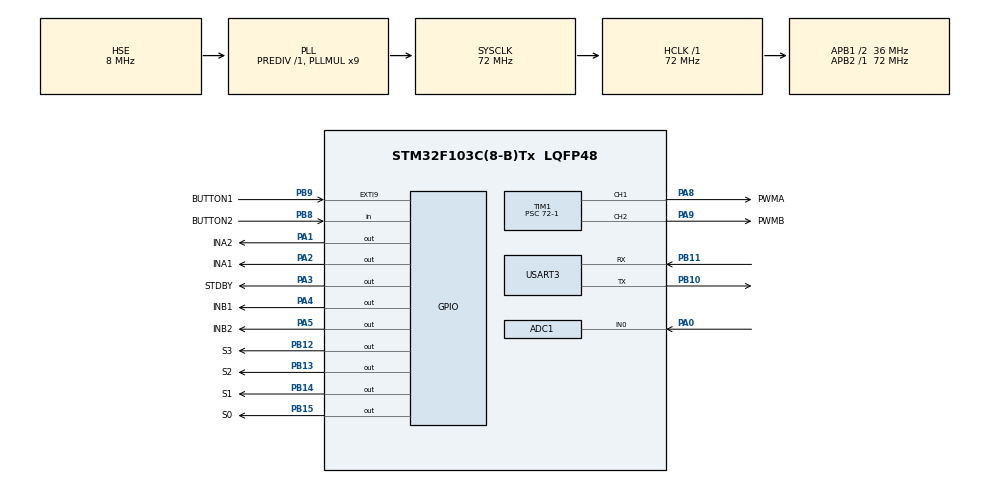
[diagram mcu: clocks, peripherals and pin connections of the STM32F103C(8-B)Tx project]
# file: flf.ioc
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ADC1.Channel-5\#ChannelRegularConversion=ADC_CHANNEL_0
ADC1.ContinuousConvMode=DISABLE
ADC1.ExternalTrigConv=ADC_SOFTWARE_START
ADC1.NbrOfConversion=1
ADC1.NbrOfConversionFlag=1
ADC1.Rank-5\#ChannelRegularConversion=1
ADC1.SamplingTime-5\#ChannelRegularConversion=ADC_SAMPLETIME_55CYCLES_5
ADC1.master=1
Dma.ADC1.0.Direction=DMA_PERIPH_TO_MEMORY
Dma.ADC1.0.Instance=DMA1_Channel1
Dma.ADC1.0.MemDataAlignment=DMA_MDATAALIGN_HALFWORD
Dma.ADC1.0.MemInc=DMA_MINC_ENABLE
Dma.ADC1.0.Mode=DMA_NORMAL
Dma.ADC1.0.PeriphDataAlignment=DMA_PDATAALIGN_HALFWORD
Dma.ADC1.0.PeriphInc=DMA_PINC_DISABLE
Dma.ADC1.0.Priority=DMA_PRIORITY_LOW
Dma.Request0=ADC1
Mcu.Family=STM32F1
Mcu.Name=STM32F103C(8-B)Tx
Mcu.Package=LQFP48
NVIC.ADC1_2_IRQn=true\:0\:0\:true\:false\:true\:true\:true\:true
NVIC.DMA1_Channel1_IRQn=true\:0\:0\:true\:false\:true\:false\:true\:true
NVIC.EXTI9_5_IRQn=true\:0\:0\:false\:false\:true\:true\:true\:true
NVIC.PriorityGroup=NVIC_PRIORITYGROUP_4
NVIC.TIM3_IRQn=true\:0\:0\:false\:false\:true\:true\:true\:true
NVIC.TIM4_IRQn=true\:5\:0\:true\:false\:true\:true\:true\:true
PA0-WKUP.Signal=ADCx_IN0
PA1.GPIO_Label=INA2
PA1.Signal=GPIO_Output
PA13.Mode=Serial_Wire
PA13.Signal=SYS_JTMS-SWDIO
PA14.Mode=Serial_Wire
PA14.Signal=SYS_JTCK-SWCLK
PA2.GPIO_Label=INA1
PA2.Signal=GPIO_Output
PA3.GPIO_Label=STDBY
PA3.Signal=GPIO_Output
PA4.GPIO_Label=INB1
PA4.Signal=GPIO_Output
PA5.GPIO_Label=INB2
PA5.Signal=GPIO_Output
PA8.GPIO_Label=PWMA
PA8.Signal=S_TIM1_CH1
PA9.GPIO_Label=PWMB
PA9.Signal=S_TIM1_CH2
PB10.Mode=Asynchronous
PB10.Signal=USART3_TX
PB11.Mode=Asynchronous
PB11.Signal=USART3_RX
PB12.GPIO_Label=S3
PB12.Signal=GPIO_Output
PB13.GPIO_Label=S2
PB13.Signal=GPIO_Output
PB14.GPIO_Label=S1
PB14.Signal=GPIO_Output
PB15.GPIO_Label=S0
PB15.Signal=GPIO_Output
PB8.GPIO_Label=BUTTON2
PB8.Signal=GPIO_Input
PB9.GPIO_Label=BUTTON1
PB9.GPIO_ModeDefaultEXTI=GPIO_MODE_IT_FALLING
PB9.GPIO_PuPd=GPIO_PULLUP
PB9.Signal=GPXTI9
PD0-OSC_IN.Mode=HSE-External-Oscillator
PD0-OSC_IN.Signal=RCC_OSC_IN
PD1-OSC_OUT.Mode=HSE-External-Oscillator
PD1-OSC_OUT.Signal=RCC_OSC_OUT
ProjectManager.HeapSize=0x200
ProjectManager.StackSize=0x400
ProjectManager.TargetToolchain=STM32CubeIDE
RCC.ADCPresc=RCC_ADCPCLK2_DIV6
RCC.AHBFreq_Value=72000000
RCC.APB1CLKDivider=RCC_HCLK_DIV2
RCC.APB1Freq_Value=36000000
RCC.APB1TimFreq_Value=72000000
RCC.APB2Freq_Value=72000000
RCC.APB2TimFreq_Value=72000000
RCC.HCLKFreq_Value=72000000
RCC.PLLMUL=RCC_PLL_MUL9
RCC.PLLSourceVirtual=RCC_PLLSOURCE_HSE
RCC.SYSCLKFreq_VALUE=72000000
RCC.SYSCLKSource=RCC_SYSCLKSOURCE_PLLCLK
RCC.USBFreq_Value=72000000
SH.ADCx_IN0.0=ADC1_IN0,IN0
SH.S_TIM1_CH1.0=TIM1_CH1,PWM Generation1 CH1
SH.S_TIM1_CH2.0=TIM1_CH2,PWM Generation2 CH2
TIM1.Channel-PWM\ Generation1\ CH1=TIM_CHANNEL_1
TIM1.Channel-PWM\ Generation2\ CH2=TIM_CHANNEL_2
TIM1.Period=1000-1
TIM1.Prescaler=72-1
TIM3.AutoReloadPreload=TIM_AUTORELOAD_PRELOAD_ENABLE
TIM3.Period=256-1
TIM3.Prescaler=72-1
TIM4.AutoReloadPreload=TIM_AUTORELOAD_PRELOAD_ENABLE
TIM4.Period=15-1
TIM4.Prescaler=72-1
USART3.VirtualMode=VM_ASYNC
VP_TIM3_VS_ClockSourceINT.Mode=Internal
VP_TIM4_VS_ClockSourceINT.Mode=Internal
board=custom

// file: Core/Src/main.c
/* USER CODE BEGIN Header */
/**
  ******************************************************************************
  * @file           : main.c
  * @brief          : Main program body
  ******************************************************************************
  * @attention
  *
  * Copyright (c) 2025 STMicroelectronics.
  * All rights reserved.
  *
  * This software is licensed under terms that can be found in the LICENSE file
  * in the root directory of this software component.
  * If no LICENSE file comes with this software, it is provided AS-IS.
  *
  ******************************************************************************
  */
/* USER CODE END Header */
#include "main.h"

ADC_HandleTypeDef hadc1;
DMA_HandleTypeDef hdma_adc1;

TIM_HandleTypeDef htim1;
TIM_HandleTypeDef htim3;
TIM_HandleTypeDef htim4;

UART_HandleTypeDef huart3;

/* USER CODE BEGIN PV */

#define KP 20.0f
#define KI 0.0f
#define KD 0.0f
#define BASE_SPEED 50
#define MAX_CORRECTION 30

#define IR_CHANNEL_COUNT 16
#define CALIB_SAMPLES    50

volatile uint16_t ir_buffer0[IR_CHANNEL_COUNT];
volatile uint16_t ir_buffer1[IR_CHANNEL_COUNT];
volatile uint16_t *ir_buffers[2] = { ir_buffer0, ir_buffer1 };

volatile uint8_t write_buf_idx = 0;
volatile uint8_t read_buf_idx  = 1;
volatile uint8_t current_ir    = 0;
volatile uint16_t motor_a_speed = 0;
volatile uint16_t motor_b_speed = 0;
volatile uint16_t adc_dma_val;
uint32_t last_button_press_time = 0;

volatile uint16_t last_error =0;
volatile float integral=0;
volatile float error = 0.0f;
volatile float derivative=0;
volatile float correction=0;
volatile int8_t weights[16]={-7,-6,-5,-4,-3,-2,-1,0,1,2,3,4,5,6,7,0};
volatile uint32_t time_diff = 0;
volatile uint32_t prev_time = 0;
volatile uint32_t current_time =0;
volatile uint32_t thresholds[IR_CHANNEL_COUNT];
volatile uint8_t motor_control_enabled = 0;

/* USER CODE END PV */

void SystemClock_Config(void);
static void MX_GPIO_Init(void);
static void MX_DMA_Init(void);
static void MX_ADC1_Init(void);
static void MX_TIM3_Init(void);
static void MX_USART3_UART_Init(void);
static void MX_TIM4_Init(void);
static void MX_TIM1_Init(void);

/* USER CODE BEGIN 0 */

void HAL_ADC_ConvCpltCallback(ADC_HandleTypeDef* hadc)
{
    if(hadc->Instance == ADC1)
    {
        ir_buffers[write_buf_idx][current_ir] = adc_dma_val;

        current_ir++;

        if (current_ir >= IR_CHANNEL_COUNT) {
            current_ir = 0;
            write_buf_idx ^= 1;
            read_buf_idx ^= 1;
        }

        setMuxChannel(current_ir);
    }
}

void SendIRValuesUART(void)
{
    char buffer[256];
    int len = 0;

    for (int i = 0; i < IR_CHANNEL_COUNT; i++)
    {
        len += sprintf(&buffer[len], "%u", thresholds[i]);

        if (i < IR_CHANNEL_COUNT - 1)
        {
            len += sprintf(&buffer[len], ",");
        }
    }

    len += sprintf(&buffer[len], "\r\n");

    HAL_UART_Transmit(&huart3, (uint8_t *)buffer, len, HAL_MAX_DELAY);
}

void MotorControl(uint8_t direction_a, uint8_t value_a, uint8_t direction_b, uint8_t value_b)
{
    //given the flf front is facing the observer
    //motor a is left
    //motor b is right

    if(value_a > 100) value_a = 100;
    if(value_b > 100) value_b = 100;

    if(direction_a)
    {
        HAL_GPIO_WritePin(GPIOA, GPIO_PIN_1, GPIO_PIN_SET);
        HAL_GPIO_WritePin(GPIOA, GPIO_PIN_2, GPIO_PIN_RESET);
    }
    else
    {
        HAL_GPIO_WritePin(GPIOA, GPIO_PIN_1, GPIO_PIN_RESET);
        HAL_GPIO_WritePin(GPIOA, GPIO_PIN_2, GPIO_PIN_SET);
    }

    if(direction_b)
    {
        HAL_GPIO_WritePin(GPIOA, GPIO_PIN_4, GPIO_PIN_SET);
        HAL_GPIO_WritePin(GPIOA, GPIO_PIN_5, GPIO_PIN_RESET);
    }
    else
    {
        HAL_GPIO_WritePin(GPIOA, GPIO_PIN_4, GPIO_PIN_RESET);
        HAL_GPIO_WritePin(GPIOA, GPIO_PIN_5, GPIO_PIN_SET);
    }

    uint32_t pwm_a = (value_a * 999) / 100;
    uint32_t pwm_b = (value_b * 999) / 100;

    __HAL_TIM_SET_COMPARE(&htim1, TIM_CHANNEL_1, pwm_a);
    __HAL_TIM_SET_COMPARE(&htim1, TIM_CHANNEL_2, pwm_b);
}

void calibration(void) {
    int calib_data[CALIB_SAMPLES][IR_CHANNEL_COUNT];
    int i, j;

    // Collect calibration samples without moving motors
    MotorControl(1,70,0,70);
    for (i = 0; i < CALIB_SAMPLES; i++) {
        for (j = 0; j < IR_CHANNEL_COUNT; j++) {
            calib_data[i][j] = ir_buffers[read_buf_idx][j];
            HAL_Delay(10);  // Small delay between sensor readings
        }
        HAL_Delay(10);  // Small delay between sample sets
    }
    MotorControl(1,0,1,0);

    // Calculate thresholds using simple min-max method
    for (j = 0; j < IR_CHANNEL_COUNT; j++) {
        int min_val = 4095;
        int max_val = 0;

        // Find min and max values for this sensor
        for (i = 0; i < CALIB_SAMPLES; i++) {
            int value = calib_data[i][j];

            if (value < min_val) min_val = value;
            if (value > max_val) max_val = value;
        }

        // Set threshold as midpoint between min and max
        thresholds[j] = (min_val + max_val) / 2;
    }
}

void HAL_GPIO_EXTI_Callback(uint16_t GPIO_Pin)
{
    if (GPIO_Pin == GPIO_PIN_9)
    {
        uint32_t current_time = HAL_GetTick();

        if (current_time - last_button_press_time >= 200)
        {
            last_button_press_time = current_time;

            // Toggle motor control state
            motor_control_enabled = !motor_control_enabled;

            // If motors are being disabled, stop them immediately
            if (!motor_control_enabled) {
                MotorControl(1, 0, 1, 0);  // Stop both motors
            }

            // Optional: Send status via UART for debugging
            char status_msg[50];
            sprintf(status_msg, "Motors %s\r\n", motor_control_enabled ? "ENABLED" : "DISABLED");
            HAL_UART_Transmit(&huart3, (uint8_t *)status_msg, strlen(status_msg), HAL_MAX_DELAY);
        }
    }
}

// Modified PID loop function
void pid_loop(void){
    // Step 1: Calculate line position using weighted average
    int weighted_sum = 0;        // Sum of (sensor_value × weight)
    int total_activation = 0;    // Sum of all active sensors

    // Go through each IR sensor
    for (int i = 0; i < IR_CHANNEL_COUNT; i++){
        // Check if sensor detects black line (value > threshold)
        if (ir_buffers[read_buf_idx][i] > thresholds[i]) {
            // Add this sensor's contribution to line position
            weighted_sum += weights[i];      // Add position weight
            total_activation += 1;           // Count this sensor as active
        }
    }

    // Step 2: Calculate error (where is line compared to center?)
    if (total_activation > 0) {
        // Line is detected - calculate average position
        error = (float)weighted_sum / (float)total_activation;
    } else {
        // No line detected - keep last error (robot may be off track)
        // error stays the same as before
    }

    // Step 3: Calculate time difference for derivative and integral
    current_time = HAL_GetTick();                    // Get current time in milliseconds
    time_diff = current_time - prev_time;           // Time since last calculation

    if (time_diff > 0) {  // Make sure we have valid time difference

        // Step 4: Calculate PID components

        // Proportional: Current error
        float proportional = KP * error;

        // Integral: Sum of all past errors (helps with steady-state error)
        integral += error * (float)time_diff / 1000.0f;  // Convert ms to seconds
        float integral_term = KI * integral;

        // Derivative: Rate of change of error (prevents overshooting)
        derivative = (error - last_error) / ((float)time_diff / 1000.0f);
        float derivative_term = KD * derivative;

        // Step 5: Combine all PID terms
        correction = proportional + integral_term + derivative_term;

        // Step 6: Limit correction to prevent extreme values
        if (correction > MAX_CORRECTION) correction = MAX_CORRECTION;
        if (correction < -MAX_CORRECTION) correction = -MAX_CORRECTION;

        // Step 7: Apply correction to motor speeds
        int left_speed = BASE_SPEED - (int)correction;   // If correction is +, slow down left motor
        int right_speed = BASE_SPEED + (int)correction;  // If correction is +, speed up right motor

        // Make sure speeds are within valid range (0-100)
        if (left_speed < 0) left_speed = 0;
        if (left_speed > 100) left_speed = 100;
        if (right_speed < 0) right_speed = 0;
        if (right_speed > 100) right_speed = 100;

        // Step 8: Motor control - only if enabled
        if (motor_control_enabled) {
            MotorControl(1, left_speed, 1, right_speed);  // Apply PID control to motors
        }

        // Step 9: Save values for next iteration
        last_error = error;
        prev_time = current_time;
    }
}

void HAL_TIM_PeriodElapsedCallback(TIM_HandleTypeDef* htim)
{
    if(htim->Instance == TIM4)
    {
        HAL_ADC_Start_DMA(&hadc1, (uint32_t*)&adc_dma_val, 1);
    }
    else if(htim->Instance == TIM3)
    {
        pid_loop();  // PID runs but doesn't control motors
    }
}

void setMuxChannel(uint8_t ch)
{
    if(ch >= 16) return;

    switch(ch)
    {
        case 0:
            HAL_GPIO_WritePin(GPIOB, S0_Pin, GPIO_PIN_RESET);
            HAL_GPIO_WritePin(GPIOB, S1_Pin, GPIO_PIN_RESET);
            HAL_GPIO_WritePin(GPIOB, S2_Pin, GPIO_PIN_RESET);
            HAL_GPIO_WritePin(GPIOB, S3_Pin, GPIO_PIN_RESET);
            break;

        case 1:
            HAL_GPIO_WritePin(GPIOB, S0_Pin, GPIO_PIN_SET);
            HAL_GPIO_WritePin(GPIOB, S1_Pin, GPIO_PIN_RESET);
            HAL_GPIO_WritePin(GPIOB, S2_Pin, GPIO_PIN_RESET);
            HAL_GPIO_WritePin(GPIOB, S3_Pin, GPIO_PIN_RESET);
            break;

        case 2:
            HAL_GPIO_WritePin(GPIOB, S0_Pin, GPIO_PIN_RESET);
            HAL_GPIO_WritePin(GPIOB, S1_Pin, GPIO_PIN_SET);
            HAL_GPIO_WritePin(GPIOB, S2_Pin, GPIO_PIN_RESET);
            HAL_GPIO_WritePin(GPIOB, S3_Pin, GPIO_PIN_RESET);
            break;

        case 3:
            HAL_GPIO_WritePin(GPIOB, S0_Pin, GPIO_PIN_SET);
            HAL_GPIO_WritePin(GPIOB, S1_Pin, GPIO_PIN_SET);
            HAL_GPIO_WritePin(GPIOB, S2_Pin, GPIO_PIN_RESET);
            HAL_GPIO_WritePin(GPIOB, S3_Pin, GPIO_PIN_RESET);
            break;

        case 4:
            HAL_GPIO_WritePin(GPIOB, S0_Pin, GPIO_PIN_RESET);
            HAL_GPIO_WritePin(GPIOB, S1_Pin, GPIO_PIN_RESET);
            HAL_GPIO_WritePin(GPIOB, S2_Pin, GPIO_PIN_SET);
            HAL_GPIO_WritePin(GPIOB, S3_Pin, GPIO_PIN_RESET);
            break;

        case 5:
            HAL_GPIO_WritePin(GPIOB, S0_Pin, GPIO_PIN_SET);
            HAL_GPIO_WritePin(GPIOB, S1_Pin, GPIO_PIN_RESET);
            HAL_GPIO_WritePin(GPIOB, S2_Pin, GPIO_PIN_SET);
            HAL_GPIO_WritePin(GPIOB, S3_Pin, GPIO_PIN_RESET);
            break;

        case 6:
            HAL_GPIO_WritePin(GPIOB, S0_Pin, GPIO_PIN_RESET);
            HAL_GPIO_WritePin(GPIOB, S1_Pin, GPIO_PIN_SET);
            HAL_GPIO_WritePin(GPIOB, S2_Pin, GPIO_PIN_SET);
            HAL_GPIO_WritePin(GPIOB, S3_Pin, GPIO_PIN_RESET);
            break;

        case 7:
            HAL_GPIO_WritePin(GPIOB, S0_Pin, GPIO_PIN_SET);
            HAL_GPIO_WritePin(GPIOB, S1_Pin, GPIO_PIN_SET);
            HAL_GPIO_WritePin(GPIOB, S2_Pin, GPIO_PIN_SET);
            HAL_GPIO_WritePin(GPIOB, S3_Pin, GPIO_PIN_RESET);
            break;

        case 8:
            HAL_GPIO_WritePin(GPIOB, S0_Pin, GPIO_PIN_RESET);
            HAL_GPIO_WritePin(GPIOB, S1_Pin, GPIO_PIN_RESET);
            HAL_GPIO_WritePin(GPIOB, S2_Pin, GPIO_PIN_RESET);
            HAL_GPIO_WritePin(GPIOB, S3_Pin, GPIO_PIN_SET);
            break;

        case 9:
            HAL_GPIO_WritePin(GPIOB, S0_Pin, GPIO_PIN_SET);
            HAL_GPIO_WritePin(GPIOB, S1_Pin, GPIO_PIN_RESET);
            HAL_GPIO_WritePin(GPIOB, S2_Pin, GPIO_PIN_RESET);
            HAL_GPIO_WritePin(GPIOB, S3_Pin, GPIO_PIN_SET);
            break;

        case 10:
            HAL_GPIO_WritePin(GPIOB, S0_Pin, GPIO_PIN_RESET);
            HAL_GPIO_WritePin(GPIOB, S1_Pin, GPIO_PIN_SET);
            HAL_GPIO_WritePin(GPIOB, S2_Pin, GPIO_PIN_RESET);
            HAL_GPIO_WritePin(GPIOB, S3_Pin, GPIO_PIN_SET);
            break;

        case 11:
            HAL_GPIO_WritePin(GPIOB, S0_Pin, GPIO_PIN_SET);
            HAL_GPIO_WritePin(GPIOB, S1_Pin, GPIO_PIN_SET);
            HAL_GPIO_WritePin(GPIOB, S2_Pin, GPIO_PIN_RESET);
            HAL_GPIO_WritePin(GPIOB, S3_Pin, GPIO_PIN_SET);
            break;

        case 12:
            HAL_GPIO_WritePin(GPIOB, S0_Pin, GPIO_PIN_RESET);
            HAL_GPIO_WritePin(GPIOB, S1_Pin, GPIO_PIN_RESET);
            HAL_GPIO_WritePin(GPIOB, S2_Pin, GPIO_PIN_SET);
            HAL_GPIO_WritePin(GPIOB, S3_Pin, GPIO_PIN_SET);
            break;

        case 13:
            HAL_GPIO_WritePin(GPIOB, S0_Pin, GPIO_PIN_SET);
            HAL_GPIO_WritePin(GPIOB, S1_Pin, GPIO_PIN_RESET);
            HAL_GPIO_WritePin(GPIOB, S2_Pin, GPIO_PIN_SET);
            HAL_GPIO_WritePin(GPIOB, S3_Pin, GPIO_PIN_SET);
            break;

        case 14:
            HAL_GPIO_WritePin(GPIOB, S0_Pin, GPIO_PIN_RESET);
            HAL_GPIO_WritePin(GPIOB, S1_Pin, GPIO_PIN_SET);
            HAL_GPIO_WritePin(GPIOB, S2_Pin, GPIO_PIN_SET);
            HAL_GPIO_WritePin(GPIOB, S3_Pin, GPIO_PIN_SET);
            break;

        case 15:
            HAL_GPIO_WritePin(GPIOB, S0_Pin, GPIO_PIN_SET);
            HAL_GPIO_WritePin(GPIOB, S1_Pin, GPIO_PIN_SET);
            HAL_GPIO_WritePin(GPIOB, S2_Pin, GPIO_PIN_SET);
            HAL_GPIO_WritePin(GPIOB, S3_Pin, GPIO_PIN_SET);
            break;

        default:
            break;
    }
}

/* USER CODE END 0 */

int main(void)
{

  /* MCU Configuration--------------------------------------------------------*/

  /* Reset of all peripherals, Initializes the Flash interface and the Systick. */
  HAL_Init();

  /* Configure the system clock */
  SystemClock_Config();

  /* USER CODE BEGIN SysInit */
  memset((void*)ir_buffer0, 0, sizeof(ir_buffer0));
  memset((void*)ir_buffer1, 0, sizeof(ir_buffer1));

  /* USER CODE END SysInit */

  /* Initialize all configured peripherals */
  MX_GPIO_Init();
  MX_DMA_Init();
  MX_ADC1_Init();
  MX_TIM3_Init();
  MX_USART3_UART_Init();
  MX_TIM4_Init();
  MX_TIM1_Init();
  /* USER CODE BEGIN 2 */
  HAL_TIM_Base_Start_IT(&htim4);
  HAL_TIM_Base_Start_IT(&htim3);
  setMuxChannel(0);

  HAL_TIM_PWM_Start(&htim1, TIM_CHANNEL_1);
  HAL_TIM_PWM_Start(&htim1, TIM_CHANNEL_2);

  // Bring STBY high to enable driver
  HAL_GPIO_WritePin(GPIOA, STDBY_Pin, GPIO_PIN_SET);

  // Boot - wait 5 seconds
  HAL_Delay(5000);

  // Calibrate (without moving motors)
  calibration();

  /* USER CODE END 2 */

  /* Infinite loop */
  while (1)
  {

  }
}

void SystemClock_Config(void)
{
  RCC_OscInitTypeDef RCC_OscInitStruct = {0};
  RCC_ClkInitTypeDef RCC_ClkInitStruct = {0};
  RCC_PeriphCLKInitTypeDef PeriphClkInit = {0};

  /** Initializes the RCC Oscillators according to the specified parameters
  * in the RCC_OscInitTypeDef structure.
  */
  RCC_OscInitStruct.OscillatorType = RCC_OSCILLATORTYPE_HSE;
  RCC_OscInitStruct.HSEState = RCC_HSE_ON;
  RCC_OscInitStruct.HSEPredivValue = RCC_HSE_PREDIV_DIV1;
  RCC_OscInitStruct.HSIState = RCC_HSI_ON;
  RCC_OscInitStruct.PLL.PLLState = RCC_PLL_ON;
  RCC_OscInitStruct.PLL.PLLSource = RCC_PLLSOURCE_HSE;
  RCC_OscInitStruct.PLL.PLLMUL = RCC_PLL_MUL9;
  if (HAL_RCC_OscConfig(&RCC_OscInitStruct) != HAL_OK)
  {
    Error_Handler();
  }

  /** Initializes the CPU, AHB and APB buses clocks
  */
  RCC_ClkInitStruct.ClockType = RCC_CLOCKTYPE_HCLK|RCC_CLOCKTYPE_SYSCLK
                              |RCC_CLOCKTYPE_PCLK1|RCC_CLOCKTYPE_PCLK2;
  RCC_ClkInitStruct.SYSCLKSource = RCC_SYSCLKSOURCE_PLLCLK;
  RCC_ClkInitStruct.AHBCLKDivider = RCC_SYSCLK_DIV1;
  RCC_ClkInitStruct.APB1CLKDivider = RCC_HCLK_DIV2;
  RCC_ClkInitStruct.APB2CLKDivider = RCC_HCLK_DIV1;

  if (HAL_RCC_ClockConfig(&RCC_ClkInitStruct, FLASH_LATENCY_2) != HAL_OK)
  {
    Error_Handler();
  }
  PeriphClkInit.PeriphClockSelection = RCC_PERIPHCLK_ADC;
  PeriphClkInit.AdcClockSelection = RCC_ADCPCLK2_DIV6;
  if (HAL_RCCEx_PeriphCLKConfig(&PeriphClkInit) != HAL_OK)
  {
    Error_Handler();
  }
}

static void MX_ADC1_Init(void)
{

  ADC_ChannelConfTypeDef sConfig = {0};

  /** Common config
  */
  hadc1.Instance = ADC1;
  hadc1.Init.ScanConvMode = ADC_SCAN_DISABLE;
  hadc1.Init.ContinuousConvMode = DISABLE;
  hadc1.Init.DiscontinuousConvMode = DISABLE;
  hadc1.Init.ExternalTrigConv = ADC_SOFTWARE_START;
  hadc1.Init.DataAlign = ADC_DATAALIGN_RIGHT;
  hadc1.Init.NbrOfConversion = 1;
  if (HAL_ADC_Init(&hadc1) != HAL_OK)
  {
    Error_Handler();
  }

  /** Configure Regular Channel
  */
  sConfig.Channel = ADC_CHANNEL_0;
  sConfig.Rank = ADC_REGULAR_RANK_1;
  sConfig.SamplingTime = ADC_SAMPLETIME_55CYCLES_5;
  if (HAL_ADC_ConfigChannel(&hadc1, &sConfig) != HAL_OK)
  {
    Error_Handler();
  }

}

static void MX_TIM1_Init(void)
{

  TIM_MasterConfigTypeDef sMasterConfig = {0};
  TIM_OC_InitTypeDef sConfigOC = {0};
  TIM_BreakDeadTimeConfigTypeDef sBreakDeadTimeConfig = {0};

  htim1.Instance = TIM1;
  htim1.Init.Prescaler = 72-1;
  htim1.Init.CounterMode = TIM_COUNTERMODE_UP;
  htim1.Init.Period = 1000-1;
  htim1.Init.ClockDivision = TIM_CLOCKDIVISION_DIV1;
  htim1.Init.RepetitionCounter = 0;
  htim1.Init.AutoReloadPreload = TIM_AUTORELOAD_PRELOAD_DISABLE;
  if (HAL_TIM_PWM_Init(&htim1) != HAL_OK)
  {
    Error_Handler();
  }
  sMasterConfig.MasterOutputTrigger = TIM_TRGO_RESET;
  sMasterConfig.MasterSlaveMode = TIM_MASTERSLAVEMODE_DISABLE;
  if (HAL_TIMEx_MasterConfigSynchronization(&htim1, &sMasterConfig) != HAL_OK)
  {
    Error_Handler();
  }
  sConfigOC.OCMode = TIM_OCMODE_PWM1;
  sConfigOC.Pulse = 0;
  sConfigOC.OCPolarity = TIM_OCPOLARITY_HIGH;
  sConfigOC.OCNPolarity = TIM_OCNPOLARITY_HIGH;
  sConfigOC.OCFastMode = TIM_OCFAST_DISABLE;
  sConfigOC.OCIdleState = TIM_OCIDLESTATE_RESET;
  sConfigOC.OCNIdleState = TIM_OCNIDLESTATE_RESET;
  if (HAL_TIM_PWM_ConfigChannel(&htim1, &sConfigOC, TIM_CHANNEL_1) != HAL_OK)
  {
    Error_Handler();
  }
  if (HAL_TIM_PWM_ConfigChannel(&htim1, &sConfigOC, TIM_CHANNEL_2) != HAL_OK)
  {
    Error_Handler();
  }
  sBreakDeadTimeConfig.OffStateRunMode = TIM_OSSR_DISABLE;
  sBreakDeadTimeConfig.OffStateIDLEMode = TIM_OSSI_DISABLE;
  sBreakDeadTimeConfig.LockLevel = TIM_LOCKLEVEL_OFF;
  sBreakDeadTimeConfig.DeadTime = 0;
  sBreakDeadTimeConfig.BreakState = TIM_BREAK_DISABLE;
  sBreakDeadTimeConfig.BreakPolarity = TIM_BREAKPOLARITY_HIGH;
  sBreakDeadTimeConfig.AutomaticOutput = TIM_AUTOMATICOUTPUT_DISABLE;
  if (HAL_TIMEx_ConfigBreakDeadTime(&htim1, &sBreakDeadTimeConfig) != HAL_OK)
  {
    Error_Handler();
  }
  HAL_TIM_MspPostInit(&htim1);

}

static void MX_TIM3_Init(void)
{

  TIM_ClockConfigTypeDef sClockSourceConfig = {0};
  TIM_MasterConfigTypeDef sMasterConfig = {0};

  htim3.Instance = TIM3;
  htim3.Init.Prescaler = 72-1;
  htim3.Init.CounterMode = TIM_COUNTERMODE_UP;
  htim3.Init.Period = 224-1;
  htim3.Init.ClockDivision = TIM_CLOCKDIVISION_DIV1;
  htim3.Init.AutoReloadPreload = TIM_AUTORELOAD_PRELOAD_ENABLE;
  if (HAL_TIM_Base_Init(&htim3) != HAL_OK)
  {
    Error_Handler();
  }
  sClockSourceConfig.ClockSource = TIM_CLOCKSOURCE_INTERNAL;
  if (HAL_TIM_ConfigClockSource(&htim3, &sClockSourceConfig) != HAL_OK)
  {
    Error_Handler();
  }
  sMasterConfig.MasterOutputTrigger = TIM_TRGO_RESET;
  sMasterConfig.MasterSlaveMode = TIM_MASTERSLAVEMODE_DISABLE;
  if (HAL_TIMEx_MasterConfigSynchronization(&htim3, &sMasterConfig) != HAL_OK)
  {
    Error_Handler();
  }

}

static void MX_TIM4_Init(void)
{

  TIM_ClockConfigTypeDef sClockSourceConfig = {0};
  TIM_MasterConfigTypeDef sMasterConfig = {0};

  htim4.Instance = TIM4;
  htim4.Init.Prescaler = 72-1;
  htim4.Init.CounterMode = TIM_COUNTERMODE_UP;
  htim4.Init.Period = 12-1;
  htim4.Init.ClockDivision = TIM_CLOCKDIVISION_DIV1;
  htim4.Init.AutoReloadPreload = TIM_AUTORELOAD_PRELOAD_ENABLE;
  if (HAL_TIM_Base_Init(&htim4) != HAL_OK)
  {
    Error_Handler();
  }
  sClockSourceConfig.ClockSource = TIM_CLOCKSOURCE_INTERNAL;
  if (HAL_TIM_ConfigClockSource(&htim4, &sClockSourceConfig) != HAL_OK)
  {
    Error_Handler();
  }
  sMasterConfig.MasterOutputTrigger = TIM_TRGO_RESET;
  sMasterConfig.MasterSlaveMode = TIM_MASTERSLAVEMODE_DISABLE;
  if (HAL_TIMEx_MasterConfigSynchronization(&htim4, &sMasterConfig) != HAL_OK)
  {
    Error_Handler();
  }

}

static void MX_USART3_UART_Init(void)
{

  huart3.Instance = USART3;
  huart3.Init.BaudRate = 115200;
  huart3.Init.WordLength = UART_WORDLENGTH_8B;
  huart3.Init.StopBits = UART_STOPBITS_1;
  huart3.Init.Parity = UART_PARITY_NONE;
  huart3.Init.Mode = UART_MODE_TX_RX;
  huart3.Init.HwFlowCtl = UART_HWCONTROL_NONE;
  huart3.Init.OverSampling = UART_OVERSAMPLING_16;
  if (HAL_UART_Init(&huart3) != HAL_OK)
  {
    Error_Handler();
  }

}

static void MX_DMA_Init(void)
{

  /* DMA controller clock enable */
  __HAL_RCC_DMA1_CLK_ENABLE();

  /* DMA interrupt init */
  /* DMA1_Channel1_IRQn interrupt configuration */
  HAL_NVIC_SetPriority(DMA1_Channel1_IRQn, 0, 0);
  HAL_NVIC_EnableIRQ(DMA1_Channel1_IRQn);

}

static void MX_GPIO_Init(void)
{
  GPIO_InitTypeDef GPIO_InitStruct = {0};

  /* GPIO Ports Clock Enable */
  __HAL_RCC_GPIOD_CLK_ENABLE();
  __HAL_RCC_GPIOA_CLK_ENABLE();
  __HAL_RCC_GPIOB_CLK_ENABLE();

  /*Configure GPIO pin Output Level */
  HAL_GPIO_WritePin(GPIOA, INA2_Pin|INA1_Pin|STDBY_Pin|INB1_Pin
                          |INB2_Pin, GPIO_PIN_RESET);

  /*Configure GPIO pin Output Level */
  HAL_GPIO_WritePin(GPIOB, S3_Pin|S2_Pin|S1_Pin|S0_Pin, GPIO_PIN_RESET);

  /*Configure GPIO pins : INA2_Pin INA1_Pin STDBY_Pin INB1_Pin
                           INB2_Pin */
  GPIO_InitStruct.Pin = INA2_Pin|INA1_Pin|STDBY_Pin|INB1_Pin
                          |INB2_Pin;
  GPIO_InitStruct.Mode = GPIO_MODE_OUTPUT_PP;
  GPIO_InitStruct.Pull = GPIO_NOPULL;
  GPIO_InitStruct.Speed = GPIO_SPEED_FREQ_LOW;
  HAL_GPIO_Init(GPIOA, &GPIO_InitStruct);

  /*Configure GPIO pins : S3_Pin S2_Pin S1_Pin S0_Pin */
  GPIO_InitStruct.Pin = S3_Pin|S2_Pin|S1_Pin|S0_Pin;
  GPIO_InitStruct.Mode = GPIO_MODE_OUTPUT_PP;
  GPIO_InitStruct.Pull = GPIO_NOPULL;
  GPIO_InitStruct.Speed = GPIO_SPEED_FREQ_LOW;
  HAL_GPIO_Init(GPIOB, &GPIO_InitStruct);

  /*Configure GPIO pin : BUTTON2_Pin */
  GPIO_InitStruct.Pin = BUTTON2_Pin;
  GPIO_InitStruct.Mode = GPIO_MODE_INPUT;
  GPIO_InitStruct.Pull = GPIO_NOPULL;
  HAL_GPIO_Init(BUTTON2_GPIO_Port, &GPIO_InitStruct);

  /*Configure GPIO pin : BUTTON1_Pin */
  GPIO_InitStruct.Pin = BUTTON1_Pin;
  GPIO_InitStruct.Mode = GPIO_MODE_IT_FALLING;
  GPIO_InitStruct.Pull = GPIO_PULLUP;
  HAL_GPIO_Init(BUTTON1_GPIO_Port, &GPIO_InitStruct);

  /* EXTI interrupt init*/
  HAL_NVIC_SetPriority(EXTI9_5_IRQn, 0, 0);
  HAL_NVIC_EnableIRQ(EXTI9_5_IRQn);

}

void Error_Handler(void)
{
  __disable_irq();
  while (1)
  {
  }
}
